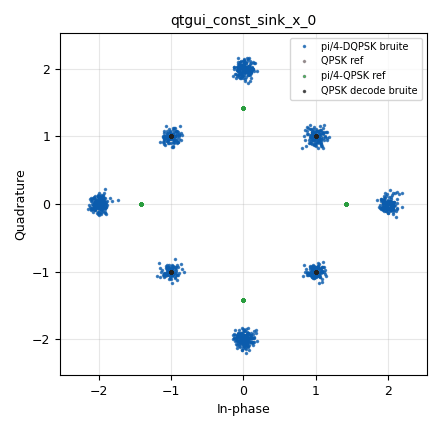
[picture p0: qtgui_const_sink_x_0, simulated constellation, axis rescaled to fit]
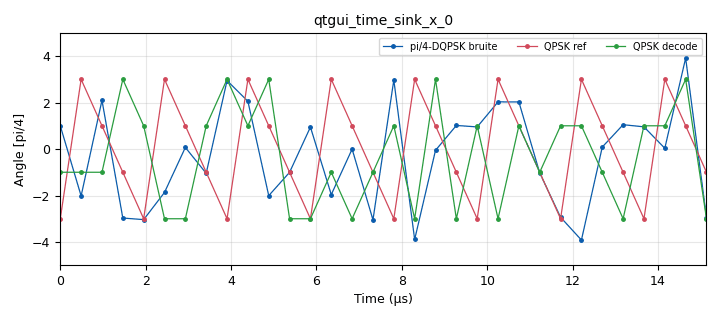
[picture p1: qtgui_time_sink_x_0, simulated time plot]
options:
  parameters:
    author: mahmoud addouche
    generate_options: qt_gui
    id: OFDM_wav_TS_step_03_04_f
    output_language: python
    title: OFDM_wav_TS_step_03_04_f
  states: {}

blocks:
- name: my_const_1
  id: variable_constellation
  parameters:
    const_points: '[-1-1j, -1+1j, 1+1j, 1-1j]'
    dims: '1'
    normalization: digital.constellation.NO_NORMALIZATION
    precision: '8'
    rot_sym: '4'
    sym_map: '[0, 1, 3, 2]'
    type: calcdist
  states: {}
- name: my_const_2
  id: variable_constellation
  parameters:
    const_points: '[-1-1j, -1+1j, 1+1j, 1-1j]'
    dims: '1'
    normalization: digital.constellation.NO_NORMALIZATION
    precision: '8'
    rot_sym: '4'
    sym_map: '[0, 1, 3, 2]'
    type: calcdist
  states: {}
- name: noise_volt
  id: variable_qtgui_range
  parameters:
    label: noise_volt
    start: '0'
    step: '0.001'
    stop: '2'
    value: '0.08'
  states: {}
- name: samp_rate
  id: variable
  parameters:
    value: '2048000'
  states: {}
- name: tau
  id: variable_qtgui_range
  parameters:
    label: tau
    start: '0'
    step: '0.1'
    stop: '5'
    value: '1.0'
  states: {}
- name: analog_const_source_x_0
  id: analog_const_source_x
  parameters:
    const: 0.707106781+0.707106781j
    type: complex
  states: {}
- name: blocks_complex_to_arg_0
  id: blocks_complex_to_arg
  parameters:
    comment: Phase pi/4-DQPSK bruite
  states: {}
- name: blocks_complex_to_arg_1
  id: blocks_complex_to_arg
  parameters: {}
  states: {}
- name: blocks_complex_to_arg_2
  id: blocks_complex_to_arg
  parameters: {}
  states: {}
- name: blocks_delay_0
  id: blocks_delay
  parameters:
    delay: '1'
    type: complex
  states: {}
- name: blocks_delay_2
  id: blocks_delay
  parameters:
    comment: Compensation retard canal
    delay: '3'
    type: complex
  states: {}
- name: blocks_multiply_const_vxx_0
  id: blocks_multiply_const_vxx
  parameters:
    const: 0.707106781+0.707106781j
    type: complex
  states: {}
- name: blocks_multiply_const_vxx_1
  id: blocks_multiply_const_vxx
  parameters:
    const: '1.27324'
    type: float
  states: {}
- name: blocks_multiply_const_vxx_3
  id: blocks_multiply_const_vxx
  parameters:
    comment: pi/4-QPSK ref
    const: 0.707106781+0.707106781j
    type: complex
  states: {}
- name: blocks_multiply_const_vxx_4
  id: blocks_multiply_const_vxx
  parameters:
    const: '1.27324'
    type: float
  states: {}
- name: blocks_multiply_const_vxx_5
  id: blocks_multiply_const_vxx
  parameters:
    const: '1.27324'
    type: float
  states: {}
- name: blocks_multiply_xx_0
  id: blocks_multiply_xx
  parameters:
    type: complex
  states: {}
- name: blocks_multiply_xx_1
  id: blocks_multiply_xx
  parameters:
    type: complex
  states: {}
- name: blocks_null_sink_0
  id: blocks_null_sink
  parameters:
    type: complex
  states: {}
- name: blocks_stream_demux_0
  id: blocks_stream_demux
  parameters:
    lengths: (1, 4)
    type: complex
  states: {}
- name: blocks_stream_mux_0
  id: blocks_stream_mux
  parameters:
    lengths: (1, 4)
    type: complex
  states: {}
- name: blocks_stream_to_tagged_stream_0
  id: blocks_stream_to_tagged_stream
  parameters:
    len_tag_key: packet_len
    packet_len: '4'
    type: complex
  states: {}
- name: blocks_throttle2_0
  id: blocks_throttle2
  parameters:
    samples_per_second: samp_rate
    type: byte
  states: {}
- name: blocks_vector_source_x_0
  id: analog_random_source_x
  parameters:
    max: '4'
    min: '0'
    num_samps: '1024'
    repeat: 'True'
    type: byte
  states: {}
- name: blocks_vector_source_x_0_0
  id: blocks_vector_source_x
  parameters:
    repeat: 'True'
    type: byte
    vector: '[0, 1, 2, 3]'
  states: {}
- name: channels_channel_model_0
  id: channels_channel_model
  parameters:
    epsilon: '1.0'
    freq_offset: '0.0'
    noise_voltage: '0.1'
    seed: '0'
    taps: '1'
  states: {}
- name: digital_constellation_encoder_bc_0
  id: digital_constellation_encoder_bc
  parameters:
    constellation: my_const_1
  states: {}
- name: digital_constellation_encoder_bc_decoded
  id: digital_constellation_encoder_bc
  parameters:
    constellation: my_const_2
  states: {}
- name: digital_constellation_encoder_bc_ref
  id: digital_constellation_encoder_bc
  parameters:
    constellation: my_const_2
  states: {}
- name: epy_block_0
  id: epy_block
  parameters:
    _source_code: |
      import numpy as np
      from gnuradio import gr

      class blk(gr.sync_block):
          def __init__(self):
              gr.sync_block.__init__(
                  self,
                  name='pi4_dqpsk_demod',
                  in_sig=[np.complex64],
                  out_sig=[np.uint8]
              )
              self.prev_sample = complex(1, 0)

          def work(self, input_items, output_items):
              in_data = input_items[0]
              out_data = output_items[0]
              N = len(in_data)
              samples = np.concatenate([[self.prev_sample], in_data])
              delta_phi = np.angle(samples[1:] * np.conj(samples[:-1]))
              self.prev_sample = in_data[-1]
              possible_phases = np.array([np.pi/4, 3*np.pi/4, -np.pi/4, -3*np.pi/4])
              symbol_map = np.array([0, 1, 2, 3])
              for i in range(N):
                  diffs = np.abs(np.angle(np.exp(1j * (delta_phi[i] - possible_phases))))
                  out_data[i] = symbol_map[np.argmin(diffs)]
              return N
    comment: Demodulateur pi/4-DQPSK
  states: {}
- name: import_math
  id: import
  parameters:
    imports: import math
  states: {}
- name: qtgui_const_sink_x_0
  id: qtgui_const_sink_x
  parameters:
    label1: pi/4-DQPSK bruite
    label2: QPSK ref
    label3: pi/4-QPSK ref
    label4: QPSK decode bruite
    nconnections: '4'
    size: '1024'
    style1: '1'
    style2: '1'
    style3: '1'
    style4: '1'
    type: complex
  states: {}
- name: qtgui_time_sink_x_0
  id: qtgui_time_sink_x
  parameters:
    ctrlpanel: 'True'
    grid: 'True'
    label1: pi/4-DQPSK bruite
    label2: QPSK ref
    label3: QPSK decode
    marker1: '1'
    marker2: '1'
    marker3: '1'
    nconnections: '3'
    size: '32'
    srate: samp_rate
    tr_mode: qtgui.TRIG_MODE_TAG
    tr_tag: '"packet_len"'
    type: float
    ylabel: Angle [pi/4]
    ymax: '5'
    ymin: '-5'
  states: {}

connections:
- [analog_const_source_x_0, '0', blocks_stream_mux_0, '0']
- [blocks_complex_to_arg_0, '0', blocks_multiply_const_vxx_1, '0']
- [blocks_complex_to_arg_1, '0', blocks_multiply_const_vxx_4, '0']
- [blocks_complex_to_arg_2, '0', blocks_multiply_const_vxx_5, '0']
- [blocks_delay_0, '0', blocks_multiply_xx_0, '1']
- [blocks_delay_2, '0', blocks_multiply_xx_1, '1']
- [blocks_multiply_const_vxx_0, '0', blocks_stream_mux_0, '1']
- [blocks_multiply_const_vxx_1, '0', qtgui_time_sink_x_0, '0']
- [blocks_multiply_const_vxx_3, '0', qtgui_const_sink_x_0, '2']
- [blocks_multiply_const_vxx_4, '0', qtgui_time_sink_x_0, '2']
- [blocks_multiply_const_vxx_5, '0', qtgui_time_sink_x_0, '1']
- [blocks_multiply_xx_0, '0', channels_channel_model_0, '0']
- [blocks_multiply_xx_1, '0', blocks_stream_demux_0, '0']
- [blocks_stream_demux_0, '0', blocks_null_sink_0, '0']
- [blocks_stream_demux_0, '1', blocks_complex_to_arg_0, '0']
- [blocks_stream_demux_0, '1', epy_block_0, '0']
- [blocks_stream_mux_0, '0', blocks_delay_0, '0']
- [blocks_stream_mux_0, '0', blocks_multiply_xx_0, '0']
- [blocks_stream_to_tagged_stream_0, '0', blocks_delay_2, '0']
- [blocks_stream_to_tagged_stream_0, '0', blocks_multiply_const_vxx_0, '0']
- [blocks_throttle2_0, '0', digital_constellation_encoder_bc_0, '0']
- [blocks_vector_source_x_0, '0', blocks_throttle2_0, '0']
- [blocks_vector_source_x_0_0, '0', digital_constellation_encoder_bc_ref, '0']
- [channels_channel_model_0, '0', blocks_multiply_xx_1, '0']
- [channels_channel_model_0, '0', qtgui_const_sink_x_0, '0']
- [digital_constellation_encoder_bc_0, '0', blocks_stream_to_tagged_stream_0, '0']
- [digital_constellation_encoder_bc_decoded, '0', blocks_complex_to_arg_1, '0']
- [digital_constellation_encoder_bc_decoded, '0', qtgui_const_sink_x_0, '3']
- [digital_constellation_encoder_bc_ref, '0', blocks_complex_to_arg_2, '0']
- [digital_constellation_encoder_bc_ref, '0', blocks_multiply_const_vxx_3, '0']
- [digital_constellation_encoder_bc_ref, '0', qtgui_const_sink_x_0, '1']
- [epy_block_0, '0', digital_constellation_encoder_bc_decoded, '0']

metadata:
  file_format: 1
  grc_version: 3.10.9.2
